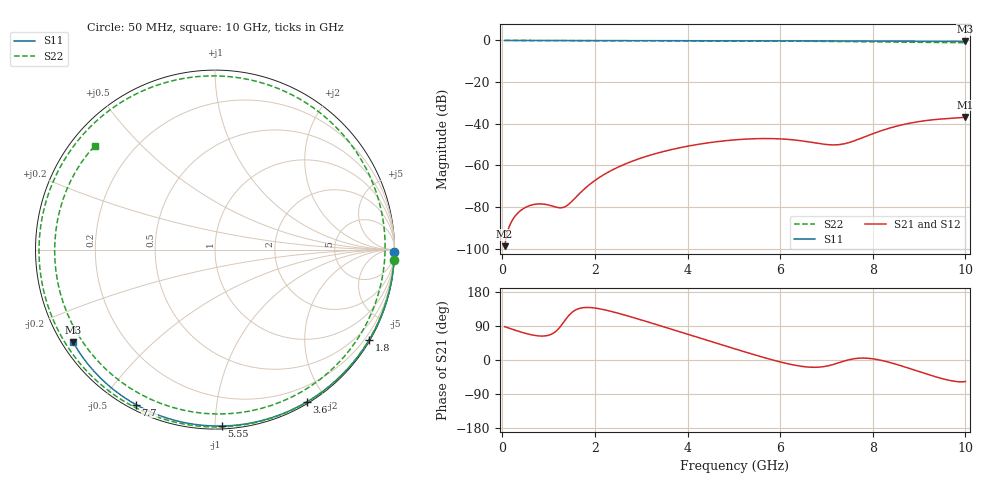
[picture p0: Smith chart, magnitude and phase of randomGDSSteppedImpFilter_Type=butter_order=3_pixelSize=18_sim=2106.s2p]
! freq	dB(S11)	phase(S11)	dB(S12)	phase(S12)
!  dB(S21)	phase(S21)	dB(S22)	phase(S22)
!S-par simulation data
#  GHz  S  DB  R 50
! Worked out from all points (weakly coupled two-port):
!   200 points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, 50 MHz to 10 GHz, reference 50 ohm
!   highest |S21| = -36.81 dB at 10 GHz (marker M1); lowest = -98.8 dB at 50 MHz (marker M2)
!   lowest |S11| = -0.5 dB at 10 GHz (marker M3), VSWR 34.77, Z = 1.57 - j14.9 ohm
!   |S11| at or under -10 dB: nowhere
!   |S22| runs from -1.1 to 0.0 dB; largest |S21 - S12| = 0
!   S11 on the Smith chart (normalised r, x): 50 MHz: open; 1.8 GHz: 0.03, -3.69; 3.6 GHz: 0.02, -1.77; 5.55 GHz: 0.02, -1.04; 7.7 GHz: 0.02, -0.61; 10 GHz: 0.03, -0.30
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0.05  -0.00 -0.9  -98.79 87.9  -98.79 87.9  -0.00 -3.4
0.45  -0.01 -7.7  -80.82 72.1  -80.82 72.1  -0.04 -30.4
0.9  -0.02 -15.3  -78.62 63.3  -78.62 63.3  -0.07 -59.2
1.35  -0.03 -22.8  -79.91 104.0  -79.91 104.0  -0.10 -85.6
1.75  -0.04 -29.5  -71.76 138.2  -71.76 138.2  -0.12 -107.0
1.8  -0.04 -30.3  -70.76 138.6  -70.76 138.6  -0.12 -109.5
2.6  -0.06 -43.3  -59.84 120.1  -59.84 120.1  -0.15 -146.8
3.4  -0.07 -55.9  -53.79 90.8  -53.79 90.8  -0.17 179.9
3.6  -0.08 -59.0  -52.67 83.3  -52.67 83.3  -0.18 171.9
4.3  -0.10 -69.6  -49.64 56.7  -49.64 56.7  -0.21 143.7
5.05  -0.12 -80.7  -47.68 28.3  -47.68 28.3  -0.25 111.9
5.55  -0.14 -87.8  -47.13 10.0  -47.13 10.0  -0.29 88.8
6.15  -0.17 -96.2  -47.48 -9.5  -47.48 -9.5  -0.34 57.8
6.7  -0.20 -103.7  -48.99 -19.2  -48.99 -19.2  -0.40 25.5
7.2  -0.23 -110.4  -50.14 -9.8  -50.14 -9.8  -0.49 -7.4
7.7  -0.27 -117.0  -47.37 4.8  -47.37 4.8  -0.60 -43.5
8.05  -0.30 -121.6  -44.38 2.2  -44.38 2.2  -0.69 -70.3
8.35  -0.32 -125.5  -42.17 -5.9  -42.17 -5.9  -0.78 -93.7
8.75  -0.36 -130.7  -39.95 -20.6  -39.95 -20.6  -0.88 -125.3
9.2  -0.41 -136.5  -38.33 -38.5  -38.33 -38.5  -0.95 -160.3
9.6  -0.45 -141.6  -37.52 -52.3  -37.52 -52.3  -0.99 169.4
10  -0.50 -146.8  -36.81 -56.7  -36.81 -56.7  -1.06 139.1
